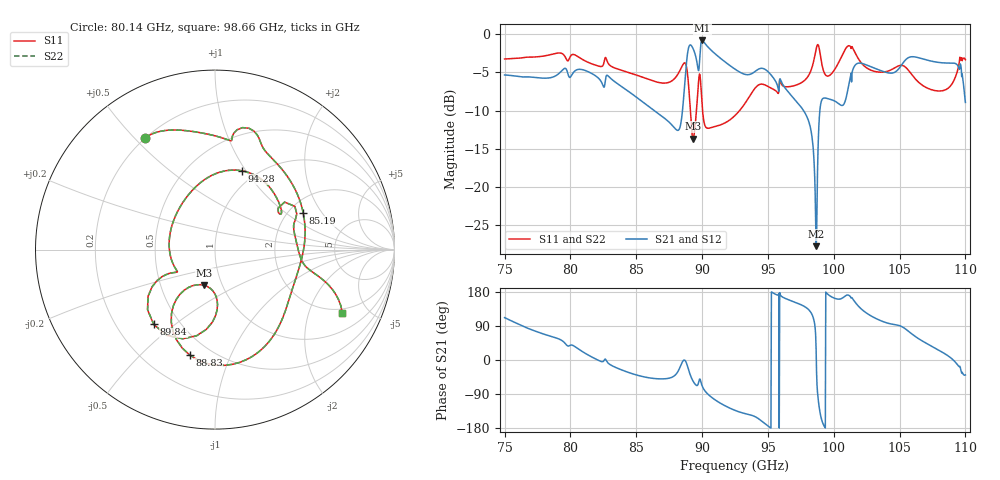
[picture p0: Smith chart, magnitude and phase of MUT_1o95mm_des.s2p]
! TOUCHSTONE file generated by CST MICROWAVE STUDIO
! Date and time: Wed Feb  7 15:34:37 2024
! Project name: material_desal.cst
! Header version: 2018
! Port assignment regex: !\s*Touchstone port\s*([0-9]+)\s*=\s*(CST MWS port|CST DS port)\s*([0-9]+|Zmin|Zmax)\s*\(\"(.*)\"\)(\s*mode\s*([0-9]+))?.*
! Touchstone port assignment:
! Touchstone port 1 = CST MWS port 1 ("")
! Touchstone port 2 = CST MWS port 2 ("")
# GHz S MA R 376.7
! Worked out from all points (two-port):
!   1001 points, 75 GHz to 110 GHz, reference 376.7 ohm
!   highest |S21| = -0.85 dB at 90.02 GHz (marker M1); lowest = -27.7 dB at 98.66 GHz (marker M2)
!   |S21| within 3 dB of the highest: 89.8 GHz to 91.9 GHz (2.102 GHz wide, 2.31 % of centre); 105.2 GHz to 109.2 GHz (3.989 GHz wide, 3.72 % of centre)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
!   lowest |S11| = -13.6 dB at 89.31 GHz (marker M3), VSWR 1.52, Z = 310 - j129 ohm
!   |S11| at or under -10 dB: 89.1 GHz to 89.57 GHz (467.9 MHz wide, 0.524 % of centre); 90.04 GHz to 92.85 GHz (2.813 GHz wide, 3.08 % of centre)
!   |S22| runs from -13.6 to -1.4 dB; largest |S21 - S12| = 0
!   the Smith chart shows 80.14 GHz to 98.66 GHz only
!   S11 on the Smith chart (normalised r, x): 80.14 GHz: 0.20, +0.54; 85.19 GHz: 2.38, +1.36; 88.83 GHz: 0.39, -0.71; 89.84 GHz: 0.36, -0.42; 94.28 GHz: 0.86, +0.96; 98.66 GHz: 1.77, -3.38
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75  0.6861 -139.9  0.54 111.8  0.54 111.8  0.6861 -139.9
77.765  0.7133 168.3  0.5155 70.8  0.5155 70.8  0.7134 168.3
80.145  0.7339 121.9  0.5472 39.0  0.5472 39.0  0.7339 122.0
80.845  0.687 104.8  0.5863 23.6  0.5863 23.6  0.687 104.8
85.185  0.5325 22.7  0.3768 -41.1  0.3768 -41.1  0.5326 22.7
86.69  0.4824 -8.9  0.3014 -49.7  0.3014 -49.7  0.4825 -8.9
88.23  0.559 -50.9  0.2367 -26.1  0.2367 -26.1  0.5589 -50.8
88.825  0.604 -103.6  0.6634 -9.2  0.6634 -9.2  0.6039 -103.5
89.315  0.2078 -106.5  0.8021 -55.8  0.8021 -55.8  0.2078 -106.4
89.84  0.5389 -129.4  0.7427 -50.5  0.7427 -50.5  0.5388 -129.2
90.015  0.3314 -152.9  0.9066 -69.1  0.9066 -69.1  0.3314 -152.8
90.89  0.2475 -162.9  0.7547 -102.8  0.7547 -102.8  0.2476 -162.8
92.5  0.2935 136.9  0.5891 -132.9  0.5891 -132.9  0.2934 136.9
94.285  0.4643 71.1  0.5892 -154.9  0.5892 -154.9  0.4636 71.2
98.345  0.603 -14.8  0.2141 120.4  0.2141 120.4  0.6031 -14.7
98.66  0.7931 -26.5  0.04122 29.4  0.04122 29.4  0.7931 -26.4
99.115  0.6248 -60.9  0.3736 -161.5  0.3736 -161.5  0.6256 -60.8
101.18  0.8373 -95.6  0.4831 170.0  0.4831 170.0  0.8376 -95.7
104.19  0.575 -161.7  0.5561 96.4  0.5561 96.4  0.575 -161.7
105.87  0.5508 148.2  0.7091 70.5  0.7091 70.5  0.5509 148.4
108.46  0.431 102.2  0.6464 16.1  0.6464 16.1  0.4312 102.4
110  0.6789 47.0  0.3574 -39.4  0.3574 -39.4  0.6793 47.3
